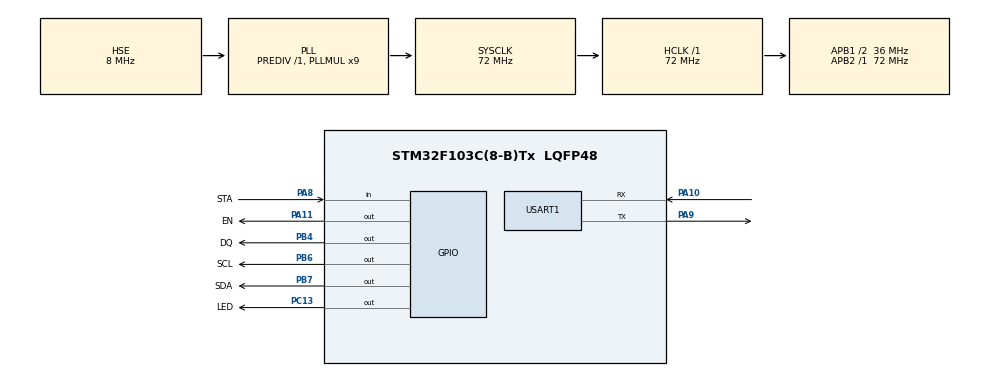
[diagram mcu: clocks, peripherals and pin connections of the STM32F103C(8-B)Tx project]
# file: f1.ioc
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Mcu.Family=STM32F1
Mcu.Name=STM32F103C(8-B)Tx
Mcu.Package=LQFP48
NVIC.PriorityGroup=NVIC_PRIORITYGROUP_4
NVIC.TIM2_IRQn=true\:0\:0\:false\:false\:true\:true\:true\:true
PA10.Mode=Asynchronous
PA10.Signal=USART1_RX
PA11.GPIO_Label=EN
PA11.Signal=GPIO_Output
PA13.Mode=Serial_Wire
PA13.Signal=SYS_JTMS-SWDIO
PA14.Mode=Serial_Wire
PA14.Signal=SYS_JTCK-SWCLK
PA8.GPIO_Label=STA
PA8.Signal=GPIO_Input
PA9.Mode=Asynchronous
PA9.Signal=USART1_TX
PB4.GPIO_Label=DQ
PB4.GPIO_Speed=GPIO_SPEED_FREQ_HIGH
PB4.Signal=GPIO_Output
PB6.GPIO_Label=SCL
PB6.GPIO_ModeDefaultOutputPP=GPIO_MODE_OUTPUT_OD
PB6.GPIO_PuPd=GPIO_PULLUP
PB6.GPIO_Speed=GPIO_SPEED_FREQ_HIGH
PB6.PinState=GPIO_PIN_SET
PB6.Signal=GPIO_Output
PB7.GPIO_Label=SDA
PB7.GPIO_ModeDefaultOutputPP=GPIO_MODE_OUTPUT_OD
PB7.GPIO_PuPd=GPIO_PULLUP
PB7.GPIO_Speed=GPIO_SPEED_FREQ_HIGH
PB7.PinState=GPIO_PIN_SET
PB7.Signal=GPIO_Output
PC13-TAMPER-RTC.GPIO_Label=LED
PC13-TAMPER-RTC.PinState=GPIO_PIN_SET
PC13-TAMPER-RTC.Signal=GPIO_Output
PD0-OSC_IN.Mode=HSE-External-Oscillator
PD0-OSC_IN.Signal=RCC_OSC_IN
PD1-OSC_OUT.Mode=HSE-External-Oscillator
PD1-OSC_OUT.Signal=RCC_OSC_OUT
ProjectManager.HeapSize=0x200
ProjectManager.StackSize=0x400
ProjectManager.TargetToolchain=MDK-ARM V5.32
RCC.AHBFreq_Value=72000000
RCC.APB1CLKDivider=RCC_HCLK_DIV2
RCC.APB1Freq_Value=36000000
RCC.APB1TimFreq_Value=72000000
RCC.APB2Freq_Value=72000000
RCC.APB2TimFreq_Value=72000000
RCC.HCLKFreq_Value=72000000
RCC.PLLMUL=RCC_PLL_MUL9
RCC.PLLSourceVirtual=RCC_PLLSOURCE_HSE
RCC.SYSCLKFreq_VALUE=72000000
RCC.SYSCLKSource=RCC_SYSCLKSOURCE_PLLCLK
RCC.USBFreq_Value=72000000
TIM2.Period=199
TIM2.Prescaler=7199
USART1.VirtualMode=VM_ASYNC
VP_TIM2_VS_ClockSourceINT.Mode=Internal
board=custom

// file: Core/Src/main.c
/* USER CODE BEGIN Header */
/**
  ******************************************************************************
  * @file           : main.c
  * @brief          : Main program body
  ******************************************************************************
  * @attention
  *
  * Copyright (c) 2025 STMicroelectronics.
  * All rights reserved.
  *
  * This software is licensed under terms that can be found in the LICENSE file
  * in the root directory of this software component.
  * If no LICENSE file comes with this software, it is provided AS-IS.
  *
  ******************************************************************************
  */
/* USER CODE END Header */
#include "main.h"
#include "tim.h"
#include "usart.h"
#include "gpio.h"

/* USER CODE BEGIN Includes */
#include "sht40.h"
#include "ds18b20.h"
#include <stdio.h>
#include <string.h>
/* USER CODE END Includes */

/* USER CODE BEGIN PM */
#define DS18B20_INIT_FAILED		1
#define ERR_UART_TIMEOUT			2
#define ERR_UART_ERROR				3
#define ERR_I2C_TIMEOUT_1			4
#define ERR_I2C_TIMEOUT_2			5
/* USER CODE END PM */

/* USER CODE BEGIN PV */
uint8_t flagTrigged = 0;
uint8_t flagErrorCode = 0;

uint8_t sensor1DataBuffer[6] = {0}; // SHT40数据缓存
double sensor1Temperature = 0;
double sensor1Humidity = 0;

int16_t sensor2DataBuffer[3] = {0}; // DS18B20数据缓存

char sendBuffer[50] = {'\0'};
/* USER CODE END PV */

void SystemClock_Config(void);
/* USER CODE BEGIN PFP */
void LED_ErrorCode(uint8_t code);
/* USER CODE END PFP */

/* USER CODE BEGIN 0 */
/*
DS18B20 代码使用示例

int main()
{
    short temp;

    while(DS18B20_Init())
    {
        printf(" ds18b20 init failed ! \r\n");
        HAL_Delay(1000);
    }

    while(1)
    {
        temp = DS18B20_Get_Temp();
        printf("当前温度:%0.2f \r\n", (float)temp / 10);
        HAL_Delay(1000);
    }
}

*/
/* USER CODE END 0 */

int main(void)
{

  /* MCU Configuration--------------------------------------------------------*/

  /* Reset of all peripherals, Initializes the Flash interface and the Systick. */
  HAL_Init();

  /* Configure the system clock */
  SystemClock_Config();

  /* Initialize all configured peripherals */
  MX_GPIO_Init();
  MX_USART1_UART_Init();
  MX_TIM2_Init();
  /* USER CODE BEGIN 2 */
//	// IIC TEST
//	while(1)
//	{
//		IIC_Send_Byte(0x03);
//		HAL_Delay(2000);
//	}

	HAL_GPIO_WritePin(EN_GPIO_Port, EN_Pin, GPIO_PIN_SET);

	while(DS18B20_Init())
	{
		LED_ErrorCode(DS18B20_INIT_FAILED);
	}

	 __HAL_TIM_SET_COUNTER(&htim2, 0);
	HAL_TIM_Base_Start_IT(&htim2);
  /* USER CODE END 2 */

  /* Infinite loop */
  /* USER CODE BEGIN WHILE */
  while (1)
  {
		if(flagTrigged == 1)
		{
			// 打开LED
			HAL_GPIO_WritePin(LED_GPIO_Port, LED_Pin, GPIO_PIN_RESET);

			uint8_t sht40ret = 0;
			// SHT40 测量温湿度数据
			sht40ret = SHT40_Start_Measurement();
			if(sht40ret)
			{
				flagErrorCode = ERR_I2C_TIMEOUT_1;
				break;
			}
			sht40ret = SHT40_Read_Measurement((uint8_t*)sensor1DataBuffer,6);
			if(sht40ret)
			{
				flagErrorCode = ERR_I2C_TIMEOUT_2;
				break;
			}
			sensor1Temperature = (1.0 * 175 * (sensor1DataBuffer[0] * 256 + sensor1DataBuffer[1])) / 65535.0 - 45;
			sensor1Humidity = (1.0 * 125 * (sensor1DataBuffer[3] * 256 + sensor1DataBuffer[4])) / 65535.0 - 6.0;

			// DS18B20 测量温度数据
			sensor2DataBuffer[0] = DS18B20_Get_Temp();
			HAL_Delay(1);
			sensor2DataBuffer[1] = DS18B20_Get_Temp();
			HAL_Delay(1);
			sensor2DataBuffer[2] = DS18B20_Get_Temp();
			HAL_Delay(1);
			double sensor2Temperature = (double)(sensor2DataBuffer[0] + sensor2DataBuffer[1] + sensor2DataBuffer[2]) / 3.0f / 10.0f;

			// HC05 发送数据
			memset(sendBuffer, '\0', sizeof(sendBuffer));
			sprintf(sendBuffer, "<TP%.2lf,HM%.2lf,TP%.2lf>", sensor1Temperature, sensor1Humidity, sensor2Temperature);
//			sprintf(sendBuffer, "<TP%.2lf,HM%.2lf,TP%.2lf>", 33.44, 55.66, 77.88); //Debug Only
			HAL_StatusTypeDef ret = HAL_UART_Transmit(&huart1, (uint8_t*)sendBuffer, strlen(sendBuffer), 5);
			if(ret != HAL_OK)
			{
				if(ret == HAL_TIMEOUT)
				{
					flagErrorCode = ERR_UART_TIMEOUT;
				}
				else
				{
					flagErrorCode = ERR_UART_ERROR;
				}
				break;
			}

			// 关闭LED
			HAL_GPIO_WritePin(LED_GPIO_Port, LED_Pin, GPIO_PIN_SET);
			flagTrigged = 0;
		}
		else
		{
			HAL_Delay(1);
		}
    /* USER CODE END WHILE */

    /* USER CODE BEGIN 3 */
  }
	while(1)
	{
		LED_ErrorCode(flagErrorCode);
	}
  /* USER CODE END 3 */
}

void SystemClock_Config(void)
{
  RCC_OscInitTypeDef RCC_OscInitStruct = {0};
  RCC_ClkInitTypeDef RCC_ClkInitStruct = {0};

  /** Initializes the RCC Oscillators according to the specified parameters
  * in the RCC_OscInitTypeDef structure.
  */
  RCC_OscInitStruct.OscillatorType = RCC_OSCILLATORTYPE_HSE;
  RCC_OscInitStruct.HSEState = RCC_HSE_ON;
  RCC_OscInitStruct.HSEPredivValue = RCC_HSE_PREDIV_DIV1;
  RCC_OscInitStruct.HSIState = RCC_HSI_ON;
  RCC_OscInitStruct.PLL.PLLState = RCC_PLL_ON;
  RCC_OscInitStruct.PLL.PLLSource = RCC_PLLSOURCE_HSE;
  RCC_OscInitStruct.PLL.PLLMUL = RCC_PLL_MUL9;
  if (HAL_RCC_OscConfig(&RCC_OscInitStruct) != HAL_OK)
  {
    Error_Handler();
  }

  /** Initializes the CPU, AHB and APB buses clocks
  */
  RCC_ClkInitStruct.ClockType = RCC_CLOCKTYPE_HCLK|RCC_CLOCKTYPE_SYSCLK
                              |RCC_CLOCKTYPE_PCLK1|RCC_CLOCKTYPE_PCLK2;
  RCC_ClkInitStruct.SYSCLKSource = RCC_SYSCLKSOURCE_PLLCLK;
  RCC_ClkInitStruct.AHBCLKDivider = RCC_SYSCLK_DIV1;
  RCC_ClkInitStruct.APB1CLKDivider = RCC_HCLK_DIV2;
  RCC_ClkInitStruct.APB2CLKDivider = RCC_HCLK_DIV1;

  if (HAL_RCC_ClockConfig(&RCC_ClkInitStruct, FLASH_LATENCY_2) != HAL_OK)
  {
    Error_Handler();
  }
}

/* USER CODE BEGIN 4 */
void HAL_TIM_PeriodElapsedCallback(TIM_HandleTypeDef *htim)
{
	if(htim->Instance == TIM2)
	{
		flagTrigged = 1;
	}
}

void LED_Blink(void)
{
	HAL_GPIO_WritePin(LED_GPIO_Port, LED_Pin, GPIO_PIN_RESET);
	HAL_Delay(200);
	HAL_GPIO_WritePin(LED_GPIO_Port, LED_Pin, GPIO_PIN_SET);
	HAL_Delay(200);
}

void LED_ErrorCode(uint8_t code)
{
	if(code == DS18B20_INIT_FAILED)		// 闪烁三次
	{
		LED_Blink();
		LED_Blink();
		LED_Blink();
		HAL_Delay(3000);
	}
	else if(code == ERR_UART_TIMEOUT)	// 闪烁四次
	{
		LED_Blink();
		LED_Blink();
		LED_Blink();
		LED_Blink();
		HAL_Delay(3000);
	}
	else if(code == ERR_UART_ERROR) 	// 闪烁五次
	{
		LED_Blink();
		LED_Blink();
		LED_Blink();
		LED_Blink();
		LED_Blink();
		HAL_Delay(3000);
	}
	else if(code == ERR_I2C_TIMEOUT_1) 	// 闪烁六次
	{
		LED_Blink();
		LED_Blink();
		LED_Blink();
		LED_Blink();
		LED_Blink();
		LED_Blink();
		HAL_Delay(3000);
	}
	else if(code == ERR_I2C_TIMEOUT_2) 	// 闪烁七次
	{
		LED_Blink();
		LED_Blink();
		LED_Blink();
		LED_Blink();
		LED_Blink();
		LED_Blink();
		LED_Blink();
		HAL_Delay(3000);
	}
}
/* USER CODE END 4 */

void Error_Handler(void)
{
  __disable_irq();
  while (1)
  {
  }
}
